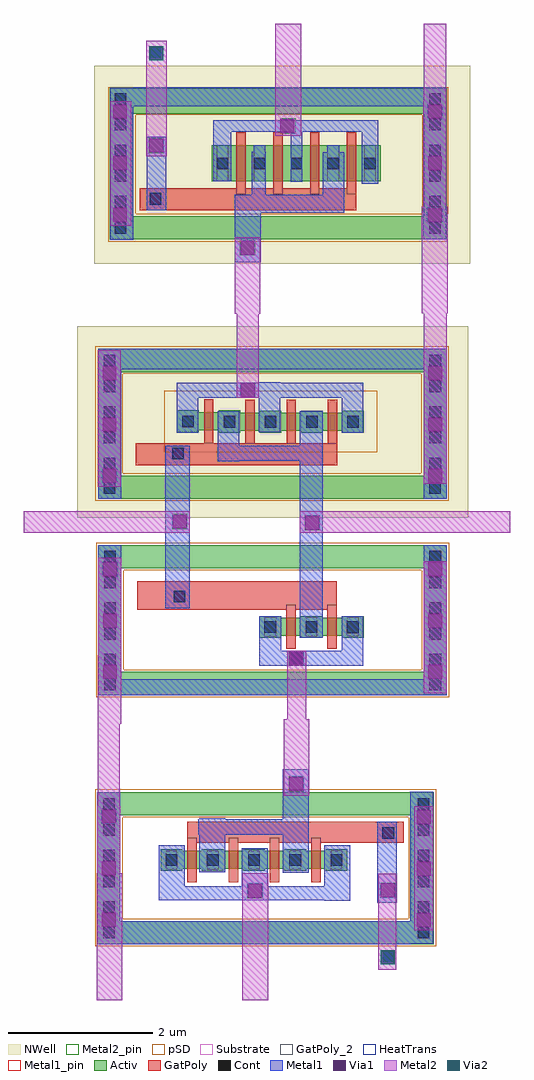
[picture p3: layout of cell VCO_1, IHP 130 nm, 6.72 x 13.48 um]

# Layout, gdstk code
from math import pi, radians
import gdstk
lib = gdstk.Library(unit=1e-6, precision=1e-09)
def R(c, l, rs):  # rectangles x0, y0, x1, y1
    for r in rs: c.add(gdstk.rectangle(r[:2], r[2:], *l))
def A(c, l, x, y, w, h, nx, ny, dx, dy):  # array of equal rectangles
    R(c, l, [(x+i*dx, y+j*dy, x+i*dx+w, y+j*dy+h) for i in range(nx) for j in range(ny)])
Activ = (1, 0)
GatPoly = (5, 0)
GatPoly_2 = (5, 2)
Cont = (6, 0)
Metal1 = (8, 0)
Metal1_pin = (8, 2)
Metal2 = (10, 0)
Metal2_pin = (10, 2)
pSD = (14, 0)
Via1 = (19, 0)
Via2 = (29, 0)
NWell = (31, 0)
Substrate = (40, 0)
HeatTrans = (51, 0)

nmos_2 = lib.new_cell('nmos$2')
R(nmos_2, Activ, [(0,0,0.3,0.3), (0.57,0,0.87,0.3), (0,0.025,0.87,0.275)])
R(nmos_2, GatPoly, [(0.37,-0.155,0.5,0.455)])
R(nmos_2, GatPoly_2, [(0.37,-0.155,0.5,0.455)])
R(nmos_2, Cont, [(0.07,0.07,0.23,0.23), (0.64,0.07,0.8,0.23)])
R(nmos_2, Metal1, [(0.07,0.02,0.23,0.28), (0.64,0.02,0.8,0.28)])
R(nmos_2, Metal1_pin, [(0.07,0.02,0.23,0.28), (0.64,0.02,0.8,0.28)])
R(nmos_2, HeatTrans, [(0.37,-0.155,0.5,0.455)])
nmos_2.add(gdstk.Label('nmos', (0.435,0.15), layer=63, texttype=0))
nmos_2.add(gdstk.Label('nmos', (0.435,0.15), layer=51, texttype=0))

pmos_2 = lib.new_cell('pmos$2')
R(pmos_2, Activ, [(0,0,0.3,0.3), (0.57,0,0.87,0.3), (0,0.025,0.87,0.275)])
R(pmos_2, GatPoly, [(0.37,-0.155,0.5,0.455), (0.37,-0.155,0.5,0.455)])
R(pmos_2, Cont, [(0.07,0.07,0.23,0.23), (0.64,0.07,0.8,0.23)])
R(pmos_2, Metal1, [(0.07,0.02,0.23,0.28), (0.07,0.02,0.23,0.28), (0.64,0.02,0.8,0.28), (0.64,0.02,0.8,0.28)])
R(pmos_2, pSD, [(-0.18,-0.275,1.05,0.575)])
R(pmos_2, NWell, [(-0.31,-0.31,1.18,0.61)])
R(pmos_2, Substrate, [(0.57,0,0.87,0.3)])
R(pmos_2, HeatTrans, [(0.37,-0.155,0.5,0.455)])
pmos_2.add(gdstk.Label('pmos', (0.435,0.15), layer=63, texttype=0))
pmos_2.add(gdstk.Label('pmos', (0.435,0.15), layer=51, texttype=0))

t2_inverter = lib.new_cell('T2_Inverter')
R(t2_inverter, Activ, [(-4.36,-2.545,0.14,-2.22), (0.14,-2.545,0.46,-0.79), (-4.36,-2.22,-4.04,-0.47), (-4.04,-0.79,0.46,-0.47), (-4.36,0.17,0.14,0.49), (0.14,0.17,0.46,1.92), (-4.36,0.49,-4.04,2.24), (-4.04,1.92,0.46,2.24)])
R(t2_inverter, GatPoly, [(-3.82,-1.36,-1.06,-0.97), (-3.835,0.635,-1.055,0.935)])
A(t2_inverter, Cont, -4.275, -2.13, 0.16, 0.16, 1, 5, 0, 0.355)
A(t2_inverter, Cont, 0.22, -2.13, 0.16, 0.16, 1, 5, 0, 0.355)
A(t2_inverter, Cont, -4.28, 0.58, 0.16, 0.16, 1, 5, 0, 0.355)
A(t2_inverter, Cont, 0.22, 0.58, 0.16, 0.16, 1, 5, 0, 0.355)
R(t2_inverter, Cont, [(-4.275,-2.475,-4.115,-2.31), (0.22,-2.475,0.38,-2.31), (-1.7,-2.11,-1.54,-1.95), (-0.92,-1.685,-0.76,-1.525), (-2.06,-1.68,-1.9,-1.52), (-1.49,-1.68,-1.33,-1.52), (-3.315,-1.26,-3.155,-1.1), (-4.28,0.24,-4.12,0.4), (0.215,0.24,0.375,0.4), (-3.335,0.715,-3.175,0.875)])
R(t2_inverter, Metal1, [(-4.36,-2.545,-4.04,-0.47), (-4.36,-2.545,-4.04,-0.47), (-4.04,-2.545,0.14,-2.325), (0.14,-2.545,0.46,-0.47), (-2.13,-2.14,-1.83,-1.45), (-1.835,-2.14,-0.995,-1.93), (-0.995,-2.14,-0.695,-1.45), (-1.575,-1.75,-1.255,1.38), (-3.43,-1.345,-3.09,0.9), (-4.36,0.17,-4.04,2.24), (0.14,0.17,0.46,2.24), (-2.705,0.69,-2.405,1.38), (-2.415,0.695,-1.575,0.905), (-3.275,1.085,-2.975,1.775), (-0.995,1.085,-0.695,1.775), (-2.14,1.09,-1.84,1.78), (-2.975,1.565,-2.135,1.775), (-1.84,1.565,-0.995,1.775), (-4.04,1.96,0.14,2.24)])
R(t2_inverter, Metal2, [(-1.745,-2.965,-1.485,-1.93), (-4.365,-2.94,-4.04,-1.995), (-4.36,-2.52,-4.04,-0.645), (0.14,-2.52,0.46,-0.69), (-5.385,-0.3,-3.09,0), (-1.575,-0.3,1.335,0), (-4.365,0.335,-4.045,2.22), (0.14,0.38,0.46,2.225), (-2.44,1.565,-2.14,2.845), (0.14,1.755,0.46,2.755), (0.14,1.755,0.46,2.755)])
R(t2_inverter, Metal2_pin, [(-1.725,-2.14,-1.515,-1.93), (-4.3,-0.91,-4.09,-0.7), (-1.505,-0.265,-1.295,-0.055), (-3.335,-0.25,-3.125,-0.04), (-4.305,0.385,-4.095,0.595), (-2.395,1.565,-2.185,1.775)])
R(t2_inverter, pSD, [(-4.385,-2.575,0.115,-2.19), (0.115,-2.575,0.495,-0.82), (-4.385,-2.19,-4.005,-0.44), (-4.005,-0.82,0.495,-0.44), (-4.395,0.14,0.105,0.525), (0.105,0.14,0.485,1.895), (-4.395,0.525,-4.015,2.275), (-4.015,1.895,0.485,2.275)])
R(t2_inverter, Via1, [(-4.29,-2.315,-4.1,-2.125), (0.205,-2.315,0.395,-2.125), (-1.715,-2.13,-1.525,-1.94), (-4.29,-1.61,-4.1,-1.42), (0.205,-1.61,0.395,-1.42), (-4.29,-0.9,-4.1,-0.71), (0.205,-0.9,0.395,-0.71), (-1.495,-0.255,-1.305,-0.065), (-3.325,-0.24,-3.135,-0.05), (-4.295,0.395,-4.105,0.585), (0.205,0.395,0.395,0.585), (-4.295,1.1,-4.105,1.29), (0.205,1.1,0.395,1.29), (-2.385,1.575,-2.195,1.765), (-4.295,1.81,-4.105,2), (0.205,1.81,0.395,2)])
R(t2_inverter, NWell, [(-4.645,-0.095,0.755,2.555)])
t2_inverter.add(gdstk.Reference(nmos_2, (-1.56,-1.75)))
t2_inverter.add(gdstk.Reference(nmos_2, (-2.13,-1.75)))
t2_inverter.add(gdstk.Reference(pmos_2, (-2.125,1.085)))
t2_inverter.add(gdstk.Reference(pmos_2, (-1.555,1.085)))
t2_inverter.add(gdstk.Reference(pmos_2, (-2.695,1.085)))
t2_inverter.add(gdstk.Reference(pmos_2, (-3.265,1.09)))
t2_inverter.add(gdstk.Label('Y', (-1.395,-0.165), layer=10, texttype=2))
t2_inverter.add(gdstk.Label('A', (-3.225,-0.095), layer=10, texttype=2))
t2_inverter.add(gdstk.Label('VGND', (-1.61,-2.025), layer=10, texttype=2))
t2_inverter.add(gdstk.Label('VPWR', (-2.32,1.67), layer=10, texttype=2))
t2_inverter.add(gdstk.Label('VPB', (0.29,1.895), layer=10, texttype=2))
t2_inverter.add(gdstk.Label('VNB', (-4.245,-2.93), layer=10, texttype=2))

nmos_bulk = lib.new_cell('nmos_bulk')
R(nmos_bulk, Activ, [(-0.2,2.025,4.13,2.345), (4.13,2.025,4.45,3.805), (-0.2,2.345,0.12,4.125), (0.12,3.805,4.45,4.125)])
R(nmos_bulk, GatPoly, [(1.045,2.43,4.035,2.72)])
A(nmos_bulk, Cont, -0.12, 2.465, 0.16, 0.16, 1, 5, 0, 0.355)
A(nmos_bulk, Cont, 4.225, 2.465, 0.16, 0.16, 1, 5, 0, 0.355)
R(nmos_bulk, Cont, [(-0.12,2.105,0.04,2.265), (4.225,2.105,4.385,2.265), (3.74,2.505,3.9,2.665)])
R(nmos_bulk, Metal1, [(2.365,1.71,2.725,3.135), (4.125,2.02,4.445,4.12), (-0.2,2.025,0.12,4.125), (1.21,2.385,1.57,3.13), (1.195,2.395,2.725,2.615), (3.67,2.43,3.94,3.55), (0.65,2.755,1.01,3.52), (2.935,2.76,3.295,3.525), (1.795,2.795,2.155,3.52), (0.65,3.32,3.295,3.52), (0.12,3.805,4.125,4.125)])
R(nmos_bulk, Metal2, [(2.375,1.015,2.73,2.075), (-0.195,1.02,0.11,2.6), (-0.2,2.215,0.12,3.93), (4.18,2.215,4.445,3.93), (1.805,3.145,2.16,4.895), (3.685,3.15,3.93,4.48)])
R(nmos_bulk, Metal2_pin, [(2.445,1.805,2.655,2.015), (-0.145,2.255,0.065,2.46), (3.71,3.275,3.92,3.485), (1.875,3.28,2.085,3.49)])
R(nmos_bulk, pSD, [(-0.23,1.985,4.105,2.37), (4.105,1.985,4.485,3.775), (-0.23,2.37,0.15,4.155), (0.15,3.775,4.485,4.155)])
R(nmos_bulk, Via1, [(2.455,1.815,2.645,2.005), (-0.135,2.265,0.055,2.455), (4.215,2.27,4.405,2.46), (-0.135,2.98,0.055,3.17), (4.215,2.985,4.405,3.175), (3.72,3.285,3.91,3.475), (1.885,3.29,2.075,3.48), (-0.135,3.69,0.055,3.88), (4.215,3.695,4.405,3.885)])
nmos_bulk.add(gdstk.Reference(nmos_2, (0.675,2.81)))
nmos_bulk.add(gdstk.Reference(nmos_2, (1.245,2.81)))
nmos_bulk.add(gdstk.Reference(nmos_2, (1.815,2.81)))
nmos_bulk.add(gdstk.Reference(nmos_2, (2.385,2.81)))
nmos_bulk.add(gdstk.Label('D', (2.57,1.935), layer=10, texttype=2))
nmos_bulk.add(gdstk.Label('S', (1.955,3.43), layer=10, texttype=2))
nmos_bulk.add(gdstk.Label('G', (3.79,3.395), layer=10, texttype=2))
nmos_bulk.add(gdstk.Label('B', (-0.08,1.13), layer=10, texttype=2))

nmos_3 = lib.new_cell('nmos$3')
R(nmos_3, Activ, [(0,0,0.3,0.3), (0,0,0.81,0.5), (0.51,0,0.81,0.3)])
R(nmos_3, GatPoly, [(0.34,-0.18,0.47,0.68)])
R(nmos_3, GatPoly_2, [(0.34,-0.18,0.47,0.68)])
R(nmos_3, Cont, [(0.07,0.17,0.23,0.33), (0.58,0.17,0.74,0.33)])
R(nmos_3, Metal1, [(0.07,0,0.23,0.5), (0.58,0,0.74,0.5)])
R(nmos_3, Metal1_pin, [(0.07,0,0.23,0.5), (0.58,0,0.74,0.5)])
R(nmos_3, HeatTrans, [(0.34,-0.18,0.47,0.68)])
nmos_3.add(gdstk.Label('nmos', (0.405,0.25), layer=63, texttype=0))
nmos_3.add(gdstk.Label('nmos', (0.405,0.25), layer=51, texttype=0))

pmos_bulk = lib.new_cell('pmos_bulk')
R(pmos_bulk, Activ, [(0.455,-6.88,4.79,-6.56), (4.79,-6.88,5.11,-5.145), (0.455,-6.56,0.775,-4.795), (0.775,-5.145,5.11,-4.795)])
R(pmos_bulk, GatPoly, [(1.705,-6.475,4.695,-6.175)])
A(pmos_bulk, Cont, 0.54, -6.44, 0.16, 0.16, 1, 5, 0, 0.355)
A(pmos_bulk, Cont, 4.885, -6.44, 0.16, 0.16, 1, 5, 0, 0.355)
R(pmos_bulk, Cont, [(0.54,-6.8,0.7,-6.64), (4.885,-6.8,5.045,-6.64), (4.4,-6.4,4.56,-6.24)])
R(pmos_bulk, Metal1, [(3.025,-7.195,3.385,-6.51), (4.785,-6.885,5.105,-4.785), (0.46,-6.88,0.78,-4.78), (1.87,-6.51,3.385,-6.265), (1.87,-6.51,2.17,-5.68), (4.33,-6.475,4.6,-5.465), (2.955,-6.265,3.15,-5.67), (1.405,-6.11,1.63,-5.345), (2.45,-6.085,2.615,-5.345), (3.435,-6.08,3.68,-5.345), (1.405,-5.395,3.68,-5.235), (0.78,-5.04,4.785,-4.78)])
R(pmos_bulk, Metal2, [(3.03,-7.91,3.385,-6.85), (0.445,-7.9,0.8,-6.43), (0.46,-6.69,0.78,-4.975), (4.815,-6.69,5.105,-4.975), (4.325,-5.73,4.605,-4.135), (2.47,-5.45,2.825,-3.905)])
R(pmos_bulk, Metal2_pin, [(3.105,-7.1,3.315,-6.89), (0.52,-6.65,0.73,-6.44), (4.365,-5.69,4.575,-5.48), (2.545,-5.42,2.755,-5.21)])
R(pmos_bulk, pSD, [(0.45,-6.915,4.77,-6.53), (4.755,-6.915,5.135,-5.16), (0.435,-6.53,0.795,-4.78), (0.775,-5.16,5.135,-4.78)])
A(pmos_bulk, Via1, 0.525, -6.64, 0.19, 0.19, 1, 3, 0, 0.715)
R(pmos_bulk, Via1, [(3.115,-7.09,3.305,-6.9), (4.875,-6.635,5.065,-6.445), (4.875,-5.92,5.065,-5.73), (4.375,-5.68,4.565,-5.49), (2.565,-5.41,2.755,-5.22), (4.875,-5.21,5.065,-5.02)])
R(pmos_bulk, NWell, [(0.13,-7.22,5.33,-4.48)])
pmos_bulk.add(gdstk.Reference(nmos_3, (1.875,-6.08)))
pmos_bulk.add(gdstk.Reference(nmos_3, (1.365,-6.08)))
pmos_bulk.add(gdstk.Reference(nmos_3, (2.385,-6.08)))
pmos_bulk.add(gdstk.Reference(nmos_3, (2.895,-6.08)))
pmos_bulk.add(gdstk.Label('D', (3.225,-6.98), layer=10, texttype=2))
pmos_bulk.add(gdstk.Label('B', (0.615,-6.6), layer=10, texttype=2))
pmos_bulk.add(gdstk.Label('S', (2.63,-5.295), layer=10, texttype=2))
pmos_bulk.add(gdstk.Label('G', (4.48,-5.615), layer=10, texttype=2))

vco_1 = lib.new_cell('VCO_1')
R(vco_1, Metal2, [(-4.07,-6.635,-3.715,-4.885), (0.45,5.46,0.765,6.85)])
R(vco_1, Metal2_pin, [(0.505,5.535,0.705,5.74)])
R(vco_1, Via2, [(-0.14,-6.14,0.05,-5.95), (-3.34,6.35,-3.15,6.54)])
vco_1.add(gdstk.Reference(t2_inverter, (0.31,0.12)))
vco_1.add(gdstk.Reference(nmos_bulk, (-3.86,-1.74), x_reflection=True))
vco_1.add(gdstk.Reference(pmos_bulk, (1.225,10.755), rotation=pi, x_reflection=True))

lib.write_gds('VCO_1.gds')
